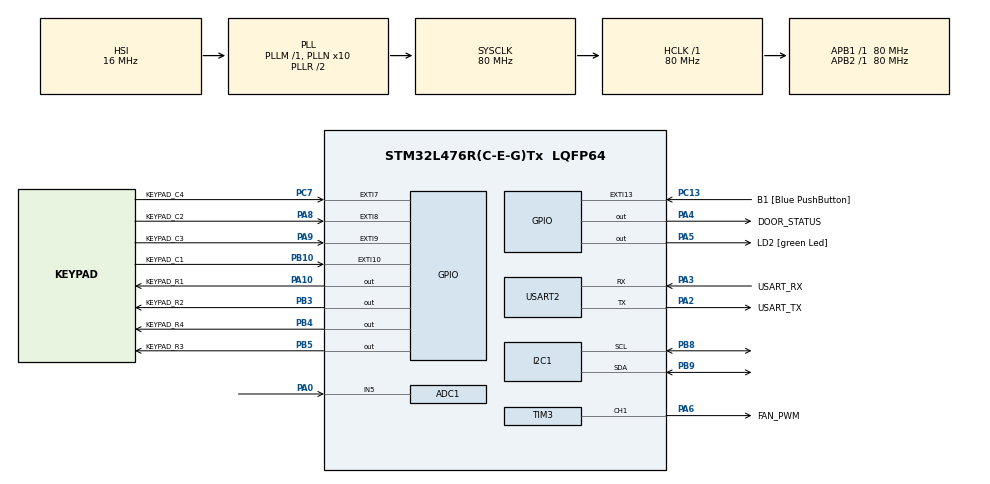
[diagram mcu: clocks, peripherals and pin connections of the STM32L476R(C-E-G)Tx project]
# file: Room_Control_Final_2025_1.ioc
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ADC1.Channel-0\#ChannelRegularConversion=ADC_CHANNEL_5
ADC1.ContinuousConvMode=ENABLE
ADC1.NbrOfConversionFlag=1
ADC1.OffsetNumber-0\#ChannelRegularConversion=ADC_OFFSET_NONE
ADC1.Rank-0\#ChannelRegularConversion=1
ADC1.SamplingTime-0\#ChannelRegularConversion=ADC_SAMPLETIME_2CYCLES_5
ADC1.master=1
Dma.Request0=TIM3_CH1/TRIG
Dma.TIM3_CH1/TRIG.0.Direction=DMA_MEMORY_TO_PERIPH
Dma.TIM3_CH1/TRIG.0.Instance=DMA1_Channel6
Dma.TIM3_CH1/TRIG.0.MemDataAlignment=DMA_MDATAALIGN_HALFWORD
Dma.TIM3_CH1/TRIG.0.MemInc=DMA_MINC_ENABLE
Dma.TIM3_CH1/TRIG.0.Mode=DMA_NORMAL
Dma.TIM3_CH1/TRIG.0.PeriphDataAlignment=DMA_PDATAALIGN_HALFWORD
Dma.TIM3_CH1/TRIG.0.PeriphInc=DMA_PINC_DISABLE
Dma.TIM3_CH1/TRIG.0.Priority=DMA_PRIORITY_LOW
I2C1.Timing=0x10909CEC
Mcu.Family=STM32L4
Mcu.Name=STM32L476R(C-E-G)Tx
Mcu.Package=LQFP64
NVIC.DMA1_Channel6_IRQn=true\:0\:0\:false\:false\:true\:false\:true\:true
NVIC.EXTI15_10_IRQn=true\:0\:0\:false\:false\:true\:true\:true\:true
NVIC.EXTI9_5_IRQn=true\:0\:0\:false\:false\:true\:true\:true\:true
NVIC.PriorityGroup=NVIC_PRIORITYGROUP_4
NVIC.USART2_IRQn=true\:0\:0\:false\:false\:true\:true\:true\:true
PA0.Signal=ADCx_IN5
PA10.GPIO_Label=KEYPAD_R1
PA10.Signal=GPIO_Output
PA13\ (JTMS-SWDIO).GPIO_Label=TMS
PA13\ (JTMS-SWDIO).Mode=Serial_Wire
PA13\ (JTMS-SWDIO).Signal=SYS_JTMS-SWDIO
PA14\ (JTCK-SWCLK).GPIO_Label=TCK
PA14\ (JTCK-SWCLK).Mode=Serial_Wire
PA14\ (JTCK-SWCLK).Signal=SYS_JTCK-SWCLK
PA2.GPIO_Label=USART_TX
PA2.GPIO_Mode=GPIO_MODE_AF_PP
PA2.GPIO_PuPd=GPIO_NOPULL
PA2.GPIO_Speed=GPIO_SPEED_FREQ_VERY_HIGH
PA2.Mode=Asynchronous
PA2.Signal=USART2_TX
PA3.GPIO_Label=USART_RX
PA3.GPIO_Mode=GPIO_MODE_AF_PP
PA3.GPIO_PuPd=GPIO_NOPULL
PA3.GPIO_Speed=GPIO_SPEED_FREQ_VERY_HIGH
PA3.Mode=Asynchronous
PA3.Signal=USART2_RX
PA4.GPIO_Label=DOOR_STATUS
PA4.Signal=GPIO_Output
PA5.GPIO_Label=LD2 [green Led]
PA5.GPIO_ModeDefaultOutputPP=GPIO_MODE_OUTPUT_PP
PA5.GPIO_PuPd=GPIO_NOPULL
PA5.GPIO_Speed=GPIO_SPEED_FREQ_LOW
PA5.Signal=GPIO_Output
PA6.GPIO_Label=FAN_PWM
PA6.Signal=S_TIM3_CH1
PA8.GPIO_Label=KEYPAD_C2
PA8.Signal=GPXTI8
PA9.GPIO_Label=KEYPAD_C3
PA9.Signal=GPXTI9
PB10.GPIO_Label=KEYPAD_C1
PB10.Signal=GPXTI10
PB3\ (JTDO-TRACESWO).GPIO_Label=KEYPAD_R2
PB3\ (JTDO-TRACESWO).Signal=GPIO_Output
PB4\ (NJTRST).GPIO_Label=KEYPAD_R4
PB4\ (NJTRST).Signal=GPIO_Output
PB5.GPIO_Label=KEYPAD_R3
PB5.Signal=GPIO_Output
PB8.Mode=I2C
PB8.Signal=I2C1_SCL
PB9.Mode=I2C
PB9.Signal=I2C1_SDA
PC0.Signal=ADCx_IN1
PC13.GPIO_Label=B1 [Blue PushButton]
PC13.GPIO_ModeDefaultEXTI=GPIO_MODE_IT_FALLING
PC13.GPIO_PuPd=GPIO_NOPULL
PC13.Signal=GPXTI13
PC14-OSC32_IN\ (PC14).Mode=LSE-External-Oscillator
PC14-OSC32_IN\ (PC14).Signal=RCC_OSC32_IN
PC15-OSC32_OUT\ (PC15).Mode=LSE-External-Oscillator
PC15-OSC32_OUT\ (PC15).Signal=RCC_OSC32_OUT
PC7.GPIO_Label=KEYPAD_C4
PC7.Signal=GPXTI7
PH0-OSC_IN\ (PH0).Signal=RCC_OSC_IN
PH1-OSC_OUT\ (PH1).Signal=RCC_OSC_OUT
ProjectManager.HeapSize=0x200
ProjectManager.StackSize=0x400
ProjectManager.TargetToolchain=CMake
RCC.ADCFreq_Value=64000000
RCC.AHBFreq_Value=80000000
RCC.APB1Freq_Value=80000000
RCC.APB1TimFreq_Value=80000000
RCC.APB2Freq_Value=80000000
RCC.APB2TimFreq_Value=80000000
RCC.CortexFreq_Value=80000000
RCC.HCLKFreq_Value=80000000
RCC.HSE_VALUE=8000000
RCC.HSI_VALUE=16000000
RCC.MSI_VALUE=4000000
RCC.PLLN=10
RCC.PLLSourceVirtual=RCC_PLLSOURCE_HSI
RCC.PREFETCH_ENABLE=1
RCC.SYSCLKFreq_VALUE=80000000
RCC.SYSCLKSource=RCC_SYSCLKSOURCE_PLLCLK
RCC.USBFreq_Value=64000000
RCC.VCOOutputFreq_Value=160000000
SH.ADCx_IN1.0=ADC1_IN1
SH.ADCx_IN5.0=ADC1_IN5,IN5-Single-Ended
SH.S_TIM3_CH1.0=TIM3_CH1,PWM Generation1 CH1
TIM3.Channel-PWM\ Generation1\ CH1=TIM_CHANNEL_1
TIM3.Period=100 - 1
TIM3.Prescaler=8000 - 1
USART2.VirtualMode-Asynchronous=VM_ASYNC
board=NUCLEO-L476RG

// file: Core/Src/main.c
/* USER CODE BEGIN Header */
/**
  **************************
  * @file           : main.c
  * @brief          : Main program body
  **************************
  * @attention
  *
  * Copyright (c) 2025 STMicroelectronics.
  * All rights reserved.
  *
  * This software is licensed under terms that can be found in the LICENSE file
  * in the root directory of this software component.
  * If no LICENSE file comes with this software, it is provided AS-IS.
  *
  **************************
  */
/* USER CODE END Header */
#include "main.h"

/* USER CODE BEGIN Includes */
#include "led.h"
#include "keypad.h"
#include "ring_buffer.h"
#include "room_control.h"
#include <stdio.h>

#include "ssd1306.h"
#include "ssd1306_fonts.h"
#include "adc.h"
#include <stdio.h>

/* USER CODE END Includes */

ADC_HandleTypeDef hadc1;

I2C_HandleTypeDef hi2c1;

TIM_HandleTypeDef htim3;
DMA_HandleTypeDef hdma_tim3_ch1_trig;

UART_HandleTypeDef huart2;

/* USER CODE BEGIN PV */
uint8_t button_pressed = 0; // Flag to indicate if the button is pressed

led_handle_t heartbeat_led = {
    .port = LD2_GPIO_Port,
    .pin = LD2_Pin
};

uint8_t usart_2_rxbyte = 0; // Variable to hold received byte from UART3

keypad_handle_t keypad = {
    .row_ports = {KEYPAD_R1_GPIO_Port, KEYPAD_R2_GPIO_Port, KEYPAD_R3_GPIO_Port, KEYPAD_R4_GPIO_Port},
    .row_pins  = {KEYPAD_R1_Pin, KEYPAD_R2_Pin, KEYPAD_R3_Pin, KEYPAD_R4_Pin},
    .col_ports = {KEYPAD_C1_GPIO_Port, KEYPAD_C2_GPIO_Port, KEYPAD_C3_GPIO_Port, KEYPAD_C4_GPIO_Port},
    .col_pins  = {KEYPAD_C1_Pin, KEYPAD_C2_Pin, KEYPAD_C3_Pin, KEYPAD_C4_Pin}
};

#define KEYPAD_BUFFER_LEN 16
uint8_t keypad_buffer[KEYPAD_BUFFER_LEN];
ring_buffer_t keypad_rb;

volatile uint16_t keypad_interrupt_pin = 0;

// Room control system instance
room_control_t room_system;
/* USER CODE END PV */

void SystemClock_Config(void);
static void MX_GPIO_Init(void);
static void MX_DMA_Init(void);
static void MX_USART2_UART_Init(void);
static void MX_I2C1_Init(void);
static void MX_TIM3_Init(void);
static void MX_ADC1_Init(void);

/* USER CODE BEGIN 0 */
void HAL_GPIO_EXTI_Callback(uint16_t GPIO_Pin)
{
  if (GPIO_Pin == B1_Pin) {
    button_pressed = 1; // Set the flag when the button is pressed
  } else {
    keypad_interrupt_pin = GPIO_Pin;
  }
}

void HAL_UART_RxCpltCallback(UART_HandleTypeDef *huart)
{
  if (huart->Instance == USART2) {
    HAL_UART_Receive_IT(&huart2, &usart_2_rxbyte, 1);
  }
}

void heartbeat(void)
{
  static uint32_t last_toggle = 0;
  if (HAL_GetTick() - last_toggle >= 500) { // Toggle every 500 ms
    led_toggle(&heartbeat_led); // Toggle the heartbeat LED
    last_toggle = HAL_GetTick();
  }
}

void write_to_oled(char *message, SSD1306_COLOR color, uint8_t x, uint8_t y)
{
  ssd1306_Fill(Black); // Clear the display
  ssd1306_SetCursor(x, y); // Set cursor to the specified position
  ssd1306_WriteString(message, Font_7x10, color);
  ssd1306_UpdateScreen(); // Update the display to show the message
}

/* USER CODE END 0 */

  /**
 * @brief Convierte un valor ADC (0-4095) en temperatura (0-50 °C).
 * @param adc_value Valor de 12 bits leído del ADC.
 * @return Temperatura estimada en grados Celsius.
 */
float adc_to_temp(uint32_t adc_value) {
    return ((float)adc_value * 50.0f) / 4095.0f;
}

int main(void)
{

  /* MCU Configuration--------------------------------------------------------*/

  /* Reset of all peripherals, Initializes the Flash interface and the Systick. */
  HAL_Init();

  /* Configure the system clock */
  SystemClock_Config();

  /* Initialize all configured peripherals */
  MX_GPIO_Init();
  MX_DMA_Init();
  MX_USART2_UART_Init();
  MX_I2C1_Init();
  MX_TIM3_Init();
  MX_ADC1_Init();
  /* USER CODE BEGIN 2 */

  led_init(&heartbeat_led);
  ssd1306_Init();
  HAL_UART_Receive_IT(&huart2, &usart_2_rxbyte, 1);

  ring_buffer_init(&keypad_rb, keypad_buffer, KEYPAD_BUFFER_LEN);
  keypad_init(&keypad);

  // TODO: TAREA - Descomentar cuando implementen la lógica del sistema
  // room_control_init(&room_system);

  /* USER CODE END 2 */

  /* Infinite loop */
  /* USER CODE BEGIN WHILE */
    // Variables previas, justo antes del while(1):
  uint32_t adc_value; // Guardará la lectura cruda del ADC (0–4095)
  uint16_t deci; // Temperatura en décimas (0–500 → 0.0–50.0 °C)
  int      temp_i, temp_d; //temp_i: grados enteros, temp_d: décima
  uint8_t  fan_level; // Nivel de ventilador (0 apagado – 3 máximo)
  uint32_t duty; // Duty cycle en porcentaje (0–100%)
  uint32_t last_update = HAL_GetTick(); // Marca de tiempo para el último refresco de pantalla
  char     display_line[32]; // Buffer para la línea de texto a mostrar en OLED

  while (1)
  {
      // 1) Leer el ADC
      HAL_ADC_Start(&hadc1);
      HAL_ADC_PollForConversion(&hadc1, HAL_MAX_DELAY);
      HAL_ADC_Stop(&hadc1);
      adc_value = HAL_ADC_GetValue(&hadc1);

      // 2) Convertir a “décimas de grado” entero (0–500 décimas = 0.0–50.0 °C)
      deci   = (adc_value * 500 + 2047) / 4095;  // +2047 redondea
      temp_i = deci / 10;                        // parte entera (grados)
      temp_d = deci % 10;                        // décima

      // 3) Calcular nivel de ventilador según temp_i
      if      (temp_i < 25) fan_level = 0;
      else if (temp_i < 28) fan_level = 1;
      else if (temp_i < 31) fan_level = 2;
      else                  fan_level = 3;

      // 4) Ajustar PWM
      duty = (fan_level == 0 ?   0
          : fan_level == 1 ?  30
          : fan_level == 2 ?  70
          :                  100);
      __HAL_TIM_SET_COMPARE(&htim3, TIM_CHANNEL_1, duty);

      // 5) Refrescar OLED cada 50 ms
      if (HAL_GetTick() - last_update >= 500)
      {
          last_update = HAL_GetTick();
          ssd1306_Fill(Black);

          // Mostrar temperatura con un decimal: “T:23.4C”
          snprintf(display_line, sizeof(display_line),
                  "T:%d.%dC", temp_i, temp_d);
          ssd1306_SetCursor(0,  16);
          ssd1306_WriteString(display_line, Font_7x10, White);

          // Mostrar nivel de ventilador
          snprintf(display_line, sizeof(display_line),
                  "Fan level: %u", fan_level);
          ssd1306_SetCursor(0, 32);
          ssd1306_WriteString(display_line, Font_7x10, White);

          // Mostrar PWM en %
          snprintf(display_line, sizeof(display_line),
                  "PWM: %lu%%", duty);
          ssd1306_SetCursor(0, 48);
          ssd1306_WriteString(display_line, Font_7x10, White);

          ssd1306_UpdateScreen();
      }
  }

    /* USER CODE END WHILE */

}

void SystemClock_Config(void)
{
  RCC_OscInitTypeDef RCC_OscInitStruct = {0};
  RCC_ClkInitTypeDef RCC_ClkInitStruct = {0};

  /** Configure the main internal regulator output voltage
  */
  if (HAL_PWREx_ControlVoltageScaling(PWR_REGULATOR_VOLTAGE_SCALE1) != HAL_OK)
  {
    Error_Handler();
  }

  /** Initializes the RCC Oscillators according to the specified parameters
  * in the RCC_OscInitTypeDef structure.
  */
  RCC_OscInitStruct.OscillatorType = RCC_OSCILLATORTYPE_HSI;
  RCC_OscInitStruct.HSIState = RCC_HSI_ON;
  RCC_OscInitStruct.HSICalibrationValue = RCC_HSICALIBRATION_DEFAULT;
  RCC_OscInitStruct.PLL.PLLState = RCC_PLL_ON;
  RCC_OscInitStruct.PLL.PLLSource = RCC_PLLSOURCE_HSI;
  RCC_OscInitStruct.PLL.PLLM = 1;
  RCC_OscInitStruct.PLL.PLLN = 10;
  RCC_OscInitStruct.PLL.PLLP = RCC_PLLP_DIV7;
  RCC_OscInitStruct.PLL.PLLQ = RCC_PLLQ_DIV2;
  RCC_OscInitStruct.PLL.PLLR = RCC_PLLR_DIV2;
  if (HAL_RCC_OscConfig(&RCC_OscInitStruct) != HAL_OK)
  {
    Error_Handler();
  }

  /** Initializes the CPU, AHB and APB buses clocks
  */
  RCC_ClkInitStruct.ClockType = RCC_CLOCKTYPE_HCLK|RCC_CLOCKTYPE_SYSCLK
                              |RCC_CLOCKTYPE_PCLK1|RCC_CLOCKTYPE_PCLK2;
  RCC_ClkInitStruct.SYSCLKSource = RCC_SYSCLKSOURCE_PLLCLK;
  RCC_ClkInitStruct.AHBCLKDivider = RCC_SYSCLK_DIV1;
  RCC_ClkInitStruct.APB1CLKDivider = RCC_HCLK_DIV1;
  RCC_ClkInitStruct.APB2CLKDivider = RCC_HCLK_DIV1;

  if (HAL_RCC_ClockConfig(&RCC_ClkInitStruct, FLASH_LATENCY_4) != HAL_OK)
  {
    Error_Handler();
  }
}

static void MX_ADC1_Init(void)
{

  ADC_MultiModeTypeDef multimode = {0};
  ADC_ChannelConfTypeDef sConfig = {0};

  /** Common config
  */
  hadc1.Instance = ADC1;
  hadc1.Init.ClockPrescaler = ADC_CLOCK_ASYNC_DIV1;
  hadc1.Init.Resolution = ADC_RESOLUTION_12B;
  hadc1.Init.DataAlign = ADC_DATAALIGN_RIGHT;
  hadc1.Init.ScanConvMode = ADC_SCAN_DISABLE;
  hadc1.Init.EOCSelection = ADC_EOC_SINGLE_CONV;
  hadc1.Init.LowPowerAutoWait = DISABLE;
  hadc1.Init.ContinuousConvMode = ENABLE;
  hadc1.Init.NbrOfConversion = 1;
  hadc1.Init.DiscontinuousConvMode = DISABLE;
  hadc1.Init.ExternalTrigConv = ADC_SOFTWARE_START;
  hadc1.Init.ExternalTrigConvEdge = ADC_EXTERNALTRIGCONVEDGE_NONE;
  hadc1.Init.DMAContinuousRequests = DISABLE;
  hadc1.Init.Overrun = ADC_OVR_DATA_PRESERVED;
  hadc1.Init.OversamplingMode = DISABLE;
  if (HAL_ADC_Init(&hadc1) != HAL_OK)
  {
    Error_Handler();
  }

  /** Configure the ADC multi-mode
  */
  multimode.Mode = ADC_MODE_INDEPENDENT;
  if (HAL_ADCEx_MultiModeConfigChannel(&hadc1, &multimode) != HAL_OK)
  {
    Error_Handler();
  }

  /** Configure Regular Channel
  */
  sConfig.Channel = ADC_CHANNEL_5;
  sConfig.Rank = ADC_REGULAR_RANK_1;
  sConfig.SamplingTime = ADC_SAMPLETIME_2CYCLES_5;
  sConfig.SingleDiff = ADC_SINGLE_ENDED;
  sConfig.OffsetNumber = ADC_OFFSET_NONE;
  sConfig.Offset = 0;
  if (HAL_ADC_ConfigChannel(&hadc1, &sConfig) != HAL_OK)
  {
    Error_Handler();
  }

}

static void MX_I2C1_Init(void)
{

  hi2c1.Instance = I2C1;
  hi2c1.Init.Timing = 0x10909CEC;
  hi2c1.Init.OwnAddress1 = 0;
  hi2c1.Init.AddressingMode = I2C_ADDRESSINGMODE_7BIT;
  hi2c1.Init.DualAddressMode = I2C_DUALADDRESS_DISABLE;
  hi2c1.Init.OwnAddress2 = 0;
  hi2c1.Init.OwnAddress2Masks = I2C_OA2_NOMASK;
  hi2c1.Init.GeneralCallMode = I2C_GENERALCALL_DISABLE;
  hi2c1.Init.NoStretchMode = I2C_NOSTRETCH_DISABLE;
  if (HAL_I2C_Init(&hi2c1) != HAL_OK)
  {
    Error_Handler();
  }

  /** Configure Analogue filter
  */
  if (HAL_I2CEx_ConfigAnalogFilter(&hi2c1, I2C_ANALOGFILTER_ENABLE) != HAL_OK)
  {
    Error_Handler();
  }

  /** Configure Digital filter
  */
  if (HAL_I2CEx_ConfigDigitalFilter(&hi2c1, 0) != HAL_OK)
  {
    Error_Handler();
  }

}

static void MX_TIM3_Init(void)
{

  TIM_MasterConfigTypeDef sMasterConfig = {0};
  TIM_OC_InitTypeDef sConfigOC = {0};

  htim3.Instance = TIM3;
  htim3.Init.Prescaler = 8000 - 1;
  htim3.Init.CounterMode = TIM_COUNTERMODE_UP;
  htim3.Init.Period = 100 - 1;
  htim3.Init.ClockDivision = TIM_CLOCKDIVISION_DIV1;
  htim3.Init.AutoReloadPreload = TIM_AUTORELOAD_PRELOAD_DISABLE;
  if (HAL_TIM_PWM_Init(&htim3) != HAL_OK)
  {
    Error_Handler();
  }
  sMasterConfig.MasterOutputTrigger = TIM_TRGO_RESET;
  sMasterConfig.MasterSlaveMode = TIM_MASTERSLAVEMODE_DISABLE;
  if (HAL_TIMEx_MasterConfigSynchronization(&htim3, &sMasterConfig) != HAL_OK)
  {
    Error_Handler();
  }
  sConfigOC.OCMode = TIM_OCMODE_PWM1;
  sConfigOC.Pulse = 0;
  sConfigOC.OCPolarity = TIM_OCPOLARITY_HIGH;
  sConfigOC.OCFastMode = TIM_OCFAST_DISABLE;
  if (HAL_TIM_PWM_ConfigChannel(&htim3, &sConfigOC, TIM_CHANNEL_1) != HAL_OK)
  {
    Error_Handler();
  }
  HAL_TIM_MspPostInit(&htim3);

}

static void MX_USART2_UART_Init(void)
{

  huart2.Instance = USART2;
  huart2.Init.BaudRate = 115200;
  huart2.Init.WordLength = UART_WORDLENGTH_8B;
  huart2.Init.StopBits = UART_STOPBITS_1;
  huart2.Init.Parity = UART_PARITY_NONE;
  huart2.Init.Mode = UART_MODE_TX_RX;
  huart2.Init.HwFlowCtl = UART_HWCONTROL_NONE;
  huart2.Init.OverSampling = UART_OVERSAMPLING_16;
  huart2.Init.OneBitSampling = UART_ONE_BIT_SAMPLE_DISABLE;
  huart2.AdvancedInit.AdvFeatureInit = UART_ADVFEATURE_NO_INIT;
  if (HAL_UART_Init(&huart2) != HAL_OK)
  {
    Error_Handler();
  }

}

static void MX_DMA_Init(void)
{

  /* DMA controller clock enable */
  __HAL_RCC_DMA1_CLK_ENABLE();

  /* DMA interrupt init */
  /* DMA1_Channel6_IRQn interrupt configuration */
  HAL_NVIC_SetPriority(DMA1_Channel6_IRQn, 0, 0);
  HAL_NVIC_EnableIRQ(DMA1_Channel6_IRQn);

}

static void MX_GPIO_Init(void)
{
  GPIO_InitTypeDef GPIO_InitStruct = {0};

  /* GPIO Ports Clock Enable */
  __HAL_RCC_GPIOC_CLK_ENABLE();
  __HAL_RCC_GPIOH_CLK_ENABLE();
  __HAL_RCC_GPIOA_CLK_ENABLE();
  __HAL_RCC_GPIOB_CLK_ENABLE();

  /*Configure GPIO pin Output Level */
  HAL_GPIO_WritePin(GPIOA, DOOR_STATUS_Pin|LD2_Pin|KEYPAD_R1_Pin, GPIO_PIN_RESET);

  /*Configure GPIO pin Output Level */
  HAL_GPIO_WritePin(GPIOB, KEYPAD_R2_Pin|KEYPAD_R4_Pin|KEYPAD_R3_Pin, GPIO_PIN_RESET);

  /*Configure GPIO pin : B1_Pin */
  GPIO_InitStruct.Pin = B1_Pin;
  GPIO_InitStruct.Mode = GPIO_MODE_IT_FALLING;
  GPIO_InitStruct.Pull = GPIO_NOPULL;
  HAL_GPIO_Init(B1_GPIO_Port, &GPIO_InitStruct);

  /*Configure GPIO pins : DOOR_STATUS_Pin LD2_Pin KEYPAD_R1_Pin */
  GPIO_InitStruct.Pin = DOOR_STATUS_Pin|LD2_Pin|KEYPAD_R1_Pin;
  GPIO_InitStruct.Mode = GPIO_MODE_OUTPUT_PP;
  GPIO_InitStruct.Pull = GPIO_NOPULL;
  GPIO_InitStruct.Speed = GPIO_SPEED_FREQ_LOW;
  HAL_GPIO_Init(GPIOA, &GPIO_InitStruct);

  /*Configure GPIO pin : KEYPAD_C1_Pin */
  GPIO_InitStruct.Pin = KEYPAD_C1_Pin;
  GPIO_InitStruct.Mode = GPIO_MODE_IT_RISING;
  GPIO_InitStruct.Pull = GPIO_NOPULL;
  HAL_GPIO_Init(KEYPAD_C1_GPIO_Port, &GPIO_InitStruct);

  /*Configure GPIO pin : KEYPAD_C4_Pin */
  GPIO_InitStruct.Pin = KEYPAD_C4_Pin;
  GPIO_InitStruct.Mode = GPIO_MODE_IT_RISING;
  GPIO_InitStruct.Pull = GPIO_NOPULL;
  HAL_GPIO_Init(KEYPAD_C4_GPIO_Port, &GPIO_InitStruct);

  /*Configure GPIO pins : KEYPAD_C2_Pin KEYPAD_C3_Pin */
  GPIO_InitStruct.Pin = KEYPAD_C2_Pin|KEYPAD_C3_Pin;
  GPIO_InitStruct.Mode = GPIO_MODE_IT_RISING;
  GPIO_InitStruct.Pull = GPIO_NOPULL;
  HAL_GPIO_Init(GPIOA, &GPIO_InitStruct);

  /*Configure GPIO pins : KEYPAD_R2_Pin KEYPAD_R4_Pin KEYPAD_R3_Pin */
  GPIO_InitStruct.Pin = KEYPAD_R2_Pin|KEYPAD_R4_Pin|KEYPAD_R3_Pin;
  GPIO_InitStruct.Mode = GPIO_MODE_OUTPUT_PP;
  GPIO_InitStruct.Pull = GPIO_NOPULL;
  GPIO_InitStruct.Speed = GPIO_SPEED_FREQ_LOW;
  HAL_GPIO_Init(GPIOB, &GPIO_InitStruct);

  /* EXTI interrupt init*/
  HAL_NVIC_SetPriority(EXTI9_5_IRQn, 0, 0);
  HAL_NVIC_EnableIRQ(EXTI9_5_IRQn);

  HAL_NVIC_SetPriority(EXTI15_10_IRQn, 0, 0);
  HAL_NVIC_EnableIRQ(EXTI15_10_IRQn);

}

void Error_Handler(void)
{
  __disable_irq();
  while (1)
  {
  }
}
